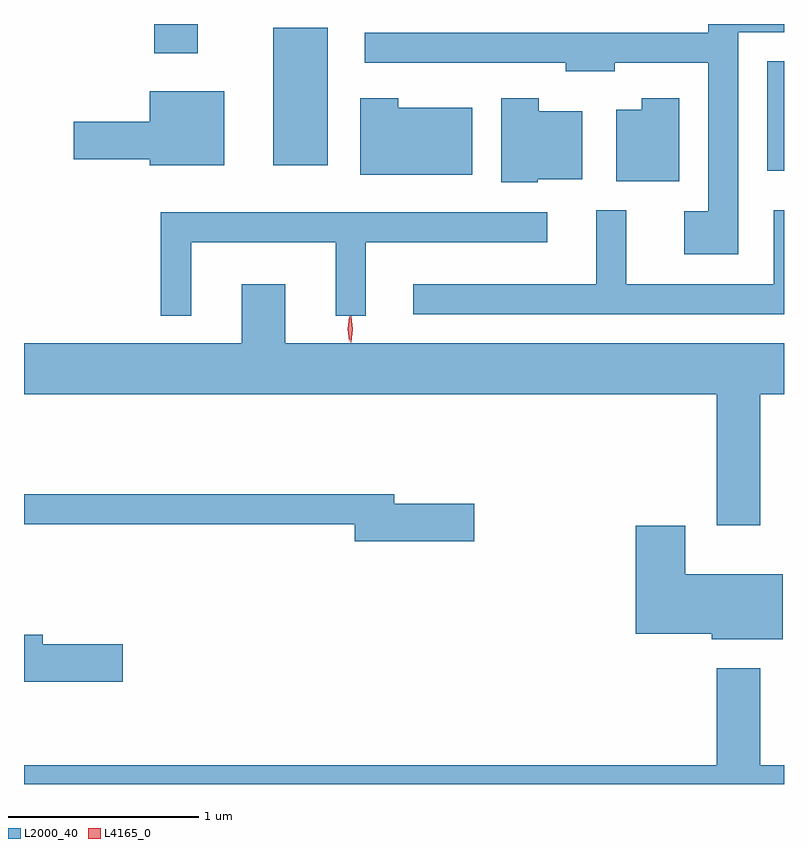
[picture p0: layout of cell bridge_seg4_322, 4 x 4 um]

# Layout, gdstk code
import gdstk
lib = gdstk.Library(unit=1e-6, precision=1e-09)
def R(c, l, rs):  # rectangles x0, y0, x1, y1
    for r in rs: c.add(gdstk.rectangle(r[:2], r[2:], *l))
def P(c, l, *ps):  # polygons
    for p in ps: c.add(gdstk.Polygon(p, *l))
L2000_40 = (2000, 40)
L4165_0 = (4165, 0)

bridge_seg4_322 = lib.new_cell('bridge_seg4_322')
R(bridge_seg4_322, L2000_40, [(728.776,1320.331,728.865,1320.909), (726.176,1320.361,726.464,1321.084), (725.551,1320.951,725.779,1321.104)])
P(bridge_seg4_322, L2000_40, [(728.624,1321.061),(728.865,1321.061),(728.865,1321.104),(728.466,1321.104),(728.466,1321.059),(726.658,1321.059),(726.658,1320.901),(727.716,1320.901),(727.716,1320.856),(727.974,1320.856),(727.974,1320.901),(728.466,1320.901),(728.466,1320.119),(728.341,1320.119),(728.341,1319.891),(728.624,1319.891)],
  [(725.919,1320.749),(725.526,1320.749),(725.526,1320.589),(725.126,1320.589),(725.126,1320.391),(725.526,1320.391),(725.526,1320.361),(725.919,1320.361)],
  [(727.57,1320.286),(727.804,1320.286),(727.804,1320.644),(727.574,1320.644),(727.574,1320.714),(727.376,1320.714),(727.376,1320.271),(727.57,1320.271)],
  [(728.314,1320.714),(728.116,1320.714),(728.116,1320.654),(727.981,1320.654),(727.981,1320.276),(728.314,1320.276)],
  [(727.224,1320.664),(726.834,1320.664),(726.834,1320.714),(726.636,1320.714),(726.636,1320.311),(727.224,1320.311)],
  [(728.865,1320.123),(728.811,1320.123),(728.811,1319.734),(728.034,1319.734),(728.034,1320.123),(727.876,1320.123),(727.876,1319.734),(726.913,1319.734),(726.913,1319.576),(728.865,1319.576)],
  [(725.744,1319.956),(726.506,1319.956),(726.506,1319.568),(726.664,1319.568),(726.664,1319.956),(727.618,1319.956),(727.618,1320.114),(725.586,1320.114),(725.586,1319.568),(725.744,1319.568)],
  [(728.739,1319.156),(728.865,1319.156),(728.865,1319.424),(726.239,1319.424),(726.239,1319.734),(726.011,1319.734),(726.011,1319.424),(724.865,1319.424),(724.865,1319.156),(728.511,1319.156),(728.511,1318.466),(728.739,1318.466)],
  [(727.234,1318.579),(726.814,1318.579),(726.814,1318.629),(724.865,1318.629),(724.865,1318.471),(726.606,1318.471),(726.606,1318.381),(727.234,1318.381)],
  [(728.859,1318.209),(728.344,1318.209),(728.344,1318.464),(728.086,1318.464),(728.086,1317.896),(728.486,1317.896),(728.486,1317.866),(728.859,1317.866)],
  [(725.384,1317.839),(724.964,1317.839),(724.964,1317.889),(724.865,1317.889),(724.865,1317.641),(725.384,1317.641)],
  [(728.865,1317.204),(728.739,1317.204),(728.739,1317.714),(728.511,1317.714),(728.511,1317.204),(724.865,1317.204),(724.865,1317.104),(728.865,1317.104)])
P(bridge_seg4_322, L4165_0, [(726.586,1319.428),(726.586,1319.429),(726.576,1319.497),(726.586,1319.565),(726.586,1319.565),(726.587,1319.565),(726.596,1319.497),(726.587,1319.429)],
  [(726.578,1319.433),(726.577,1319.434),(726.568,1319.498),(726.578,1319.562),(726.579,1319.562),(726.579,1319.562),(726.588,1319.497),(726.578,1319.434)])

lib.write_gds('bridge_seg4_322.gds')
